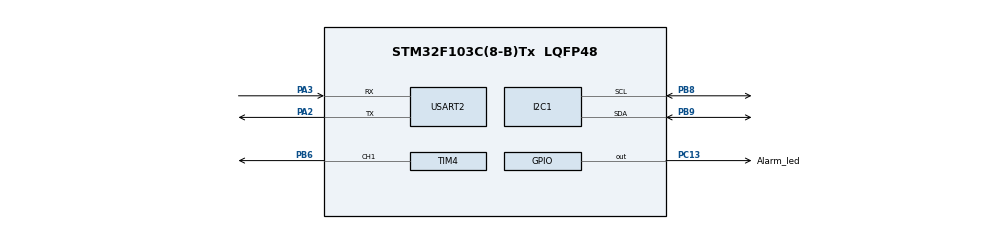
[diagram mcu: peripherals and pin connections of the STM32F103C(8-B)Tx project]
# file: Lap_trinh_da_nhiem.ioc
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Dma.Request0=USART2_RX
Dma.USART2_RX.0.Direction=DMA_PERIPH_TO_MEMORY
Dma.USART2_RX.0.Instance=DMA1_Channel6
Dma.USART2_RX.0.MemDataAlignment=DMA_MDATAALIGN_BYTE
Dma.USART2_RX.0.MemInc=DMA_MINC_ENABLE
Dma.USART2_RX.0.Mode=DMA_CIRCULAR
Dma.USART2_RX.0.PeriphDataAlignment=DMA_PDATAALIGN_BYTE
Dma.USART2_RX.0.PeriphInc=DMA_PINC_DISABLE
Dma.USART2_RX.0.Priority=DMA_PRIORITY_LOW
FREERTOS.Tasks01=ReadTempTask,2,128,ReadTemp,Default,NULL,Static,ReadTempTaskBuffer,ReadTempTaskControlBlock;UartTask,1,128,Uart,Default,NULL,Static,UartTaskBuffer,UartTaskControlBlock;ControlSg90Task,0,128,ControlSg90,Default,NULL,Static,ControlSg90TaskBuffer,ControlSg90TaskControlBlock;AlarmChangeTask,0,128,AlarmChange,Default,NULL,Static,AlarmChangeTaskBuffer,AlarmChangeTaskControlBlock;SendAlarmTask,0,128,SendAlarm,Default,NULL,Static,SendAlarmTaskBuffer,SendAlarmTaskControlBlock;DisplayTempTask,0,128,DisplayTemp,Default,NULL,Static,DisplayTempTaskBuffer,DisplayTempTaskControlBlock
Mcu.Family=STM32F1
Mcu.Name=STM32F103C(8-B)Tx
Mcu.Package=LQFP48
NVIC.DMA1_Channel6_IRQn=true\:5\:0\:false\:false\:true\:true\:false\:true\:true
NVIC.PriorityGroup=NVIC_PRIORITYGROUP_4
PA13.Mode=Serial_Wire
PA13.Signal=SYS_JTMS-SWDIO
PA14.Mode=Serial_Wire
PA14.Signal=SYS_JTCK-SWCLK
PA2.Mode=Asynchronous
PA2.Signal=USART2_TX
PA3.Mode=Asynchronous
PA3.Signal=USART2_RX
PB6.Signal=S_TIM4_CH1
PB8.Mode=I2C
PB8.Signal=I2C1_SCL
PB9.Mode=I2C
PB9.Signal=I2C1_SDA
PC13-TAMPER-RTC.GPIO_Label=Alarm_led
PC13-TAMPER-RTC.Signal=GPIO_Output
PD0-OSC_IN.Mode=HSE-External-Oscillator
PD0-OSC_IN.Signal=RCC_OSC_IN
PD1-OSC_OUT.Mode=HSE-External-Oscillator
PD1-OSC_OUT.Signal=RCC_OSC_OUT
ProjectManager.HeapSize=0x200
ProjectManager.StackSize=0x400
ProjectManager.TargetToolchain=MDK-ARM V5
RCC.APB1Freq_Value=8000000
RCC.APB2Freq_Value=8000000
SH.S_TIM4_CH1.0=TIM4_CH1,PWM Generation1 CH1
TIM4.Channel-PWM\ Generation1\ CH1=TIM_CHANNEL_1
TIM4.Period=19999
TIM4.Prescaler=71
USART2.VirtualMode=VM_ASYNC
VP_FREERTOS_VS_CMSIS_V1.Mode=CMSIS_V1
board=custom

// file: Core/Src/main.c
/* USER CODE BEGIN Header */
/**
  ******************************************************************************
  * @file           : main.c
  * @brief          : Main program body
  ******************************************************************************
  * @attention
  *
  * Copyright (c) 2023 STMicroelectronics.
  * All rights reserved.
  *
  * This software is licensed under terms that can be found in the LICENSE file
  * in the root directory of this software component.
  * If no LICENSE file comes with this software, it is provided AS-IS.
  *
  ******************************************************************************
  */
/* USER CODE END Header */
#include "main.h"
#include "cmsis_os.h"

/* USER CODE BEGIN Includes */
#include "ds18b20.h"
#include "sg90.h"
#include "i2c-lcd.h"
#include "uart.h"
#include "timer.h"
/* USER CODE END Includes */

osThreadId ReadTempTaskHandle;
uint32_t ReadTempTaskBuffer[ 128 ];
osStaticThreadDef_t ReadTempTaskControlBlock;
osThreadId UartTaskHandle;
uint32_t UartTaskBuffer[ 128 ];
osStaticThreadDef_t UartTaskControlBlock;
osThreadId ControlSg90TaskHandle;
uint32_t ControlSg90TaskBuffer[ 128 ];
osStaticThreadDef_t ControlSg90TaskControlBlock;
osThreadId AlarmChangeTaskHandle;
uint32_t AlarmChangeTaskBuffer[ 128 ];
osStaticThreadDef_t AlarmChangeTaskControlBlock;
osThreadId SendAlarmTaskHandle;
uint32_t SendAlarmTaskBuffer[ 128 ];
osStaticThreadDef_t SendAlarmTaskControlBlock;
osThreadId DisplayTempTaskHandle;
uint32_t DisplayTempTaskBuffer[ 128 ];
osStaticThreadDef_t DisplayTempTaskControlBlock;

void ReadTemp(void const * argument);
void Uart(void const * argument);
void ControlSg90(void const * argument);
void AlarmChange(void const * argument);
void SendAlarm(void const * argument);
void DisplayTemp(void const * argument);

/* USER CODE BEGIN 0 */
uint8_t rxBuff[BF_SIZE];

int8_t ex_strlen;

uint16_t pwm_value, pwm_value_pre;
float temp = 0;
bool check = true;
bool alarm_change = false;

int i = 0;
uint8_t alarm_temp = 30;
/* USER CODE END 0 */

int main(void)
{

  /* MCU Configuration--------------------------------------------------------*/

  /* Reset of all peripherals, Initializes the Flash interface and the Systick. */
  HAL_Init();

  /* Configure the system clock */
  SystemClock_Config();

  /* Initialize all configured peripherals */
  MX_GPIO_Init();
  MX_DMA_Init();
  MX_I2C1_Init();
  MX_TIM4_Init();
  MX_USART2_UART_Init();
  /* USER CODE BEGIN 2 */
	lcd_init();
  /* USER CODE END 2 */

  /* Create the thread(s) */
  /* definition and creation of ReadTempTask */
  osThreadStaticDef(ReadTempTask, ReadTemp, osPriorityHigh, 0, 128, ReadTempTaskBuffer, &ReadTempTaskControlBlock);
  ReadTempTaskHandle = osThreadCreate(osThread(ReadTempTask), NULL);

  /* definition and creation of UartTask */
  osThreadStaticDef(UartTask, Uart, osPriorityAboveNormal, 0, 128, UartTaskBuffer, &UartTaskControlBlock);
  UartTaskHandle = osThreadCreate(osThread(UartTask), NULL);

  /* definition and creation of ControlSg90Task */
  osThreadStaticDef(ControlSg90Task, ControlSg90, osPriorityNormal, 0, 128, ControlSg90TaskBuffer, &ControlSg90TaskControlBlock);
  ControlSg90TaskHandle = osThreadCreate(osThread(ControlSg90Task), NULL);

  /* definition and creation of AlarmChangeTask */
  osThreadStaticDef(AlarmChangeTask, AlarmChange, osPriorityNormal, 0, 128, AlarmChangeTaskBuffer, &AlarmChangeTaskControlBlock);
  AlarmChangeTaskHandle = osThreadCreate(osThread(AlarmChangeTask), NULL);

  /* definition and creation of SendAlarmTask */
  osThreadStaticDef(SendAlarmTask, SendAlarm, osPriorityNormal, 0, 128, SendAlarmTaskBuffer, &SendAlarmTaskControlBlock);
  SendAlarmTaskHandle = osThreadCreate(osThread(SendAlarmTask), NULL);

  /* definition and creation of DisplayTempTask */
  osThreadStaticDef(DisplayTempTask, DisplayTemp, osPriorityNormal, 0, 128, DisplayTempTaskBuffer, &DisplayTempTaskControlBlock);
  DisplayTempTaskHandle = osThreadCreate(osThread(DisplayTempTask), NULL);

  /* Start scheduler */
  osKernelStart();

  /* We should never get here as control is now taken by the scheduler */
  /* Infinite loop */
  while (1)
  {

  }
}

void ReadTemp(void const * argument)
{
  /* USER CODE BEGIN 5 */
  /* Infinite loop */
  for(;;)
  {
		read_temp_ds18b20(&temp);
    osDelay(1000);
  }
  /* USER CODE END 5 */
}

void Uart(void const * argument)
{
  /* USER CODE BEGIN Uart */
  /* Infinite loop */
  for(;;)
  {
		RX_handle();
		if (alarm_change)
			{
				printf("Nhap nguong nhiet: \n");
			}
		else
			if (!check)
				{
					printf("Nhap goc quay: \n");
				}
    osDelay(500);
  }
  /* USER CODE END Uart */
}

void ControlSg90(void const * argument)
{
  /* USER CODE BEGIN ControlSg90 */
  /* Infinite loop */
  for(;;)
  {
		change_sg90();
    osDelay(500);
  }
  /* USER CODE END ControlSg90 */
}

void AlarmChange(void const * argument)
{
  /* USER CODE BEGIN AlarmChange */
  /* Infinite loop */
  for(;;)
  {
		change_alarm();
    osDelay(500);
  }
  /* USER CODE END AlarmChange */
}

void SendAlarm(void const * argument)
{
  /* USER CODE BEGIN SendAlarm */
  /* Infinite loop */
  for(;;)
  {
		set_alarm_led();
    osDelay(500);
  }
  /* USER CODE END SendAlarm */
}

void DisplayTemp(void const * argument)
{
  /* USER CODE BEGIN DisplayTemp */
  /* Infinite loop */
  for(;;)
  {
		lcd_display_temp();
    osDelay(1000);
  }
  /* USER CODE END DisplayTemp */
}

void Error_Handler(void)
{
  __disable_irq();
  while (1)
  {
  }
}
